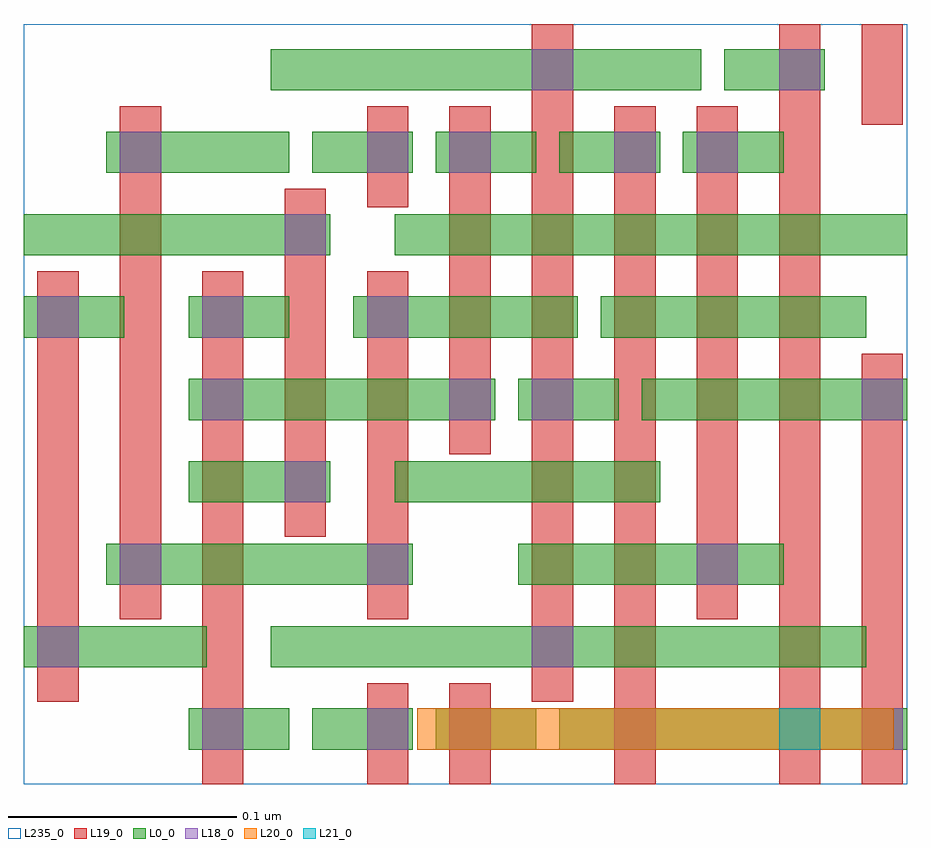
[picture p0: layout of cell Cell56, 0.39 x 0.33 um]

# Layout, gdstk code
import gdstk
lib = gdstk.Library(unit=1e-6, precision=2.5e-10)
def R(c, l, rs):  # rectangles x0, y0, x1, y1
    for r in rs: c.add(gdstk.rectangle(r[:2], r[2:], *l))
def A(c, l, x, y, w, h, nx, ny, dx, dy):  # array of equal rectangles
    R(c, l, [(x+i*dx, y+j*dy, x+i*dx+w, y+j*dy+h) for i in range(nx) for j in range(ny)])
L0_0 = (0, 0)
L18_0 = (18, 0)
L19_0 = (19, 0)
L20_0 = (20, 0)
L21_0 = (21, 0)
L235_0 = (235, 0)

cell56 = lib.new_cell('Cell56')
A(cell56, L0_0, 0.076, -0.001, 0.044, 0.018, 3, 1, 0.054, 0)
A(cell56, L0_0, 0.13, 0.251, 0.044, 0.018, 4, 1, 0.054, 0)
R(cell56, L0_0, [(0.238,-0.001,0.39,0.017), (0.004,0.035,0.084,0.053), (0.112,0.035,0.372,0.053), (0.04,0.071,0.174,0.089), (0.22,0.071,0.336,0.089), (0.076,0.107,0.138,0.125), (0.166,0.107,0.282,0.125), (0.076,0.143,0.21,0.161), (0.22,0.143,0.264,0.161), (0.274,0.143,0.39,0.161), (0.004,0.179,0.048,0.197), (0.076,0.179,0.12,0.197), (0.148,0.179,0.246,0.197), (0.256,0.179,0.372,0.197), (0.004,0.215,0.138,0.233), (0.166,0.215,0.39,0.233), (0.04,0.251,0.12,0.269), (0.112,0.287,0.3,0.305), (0.31,0.287,0.354,0.305)])
A(cell56, L18_0, 0.01, 0.179, 0.018, 0.018, 3, 1, 0.072, 0)
R(cell56, L18_0, [(0.082,-0.001,0.1,0.017), (0.154,-0.001,0.172,0.017), (0.19,-0.001,0.208,0.017), (0.262,-0.001,0.28,0.017), (0.37,-0.001,0.388,0.017), (0.01,0.035,0.028,0.053), (0.226,0.035,0.244,0.053), (0.046,0.071,0.064,0.089), (0.154,0.071,0.172,0.089), (0.298,0.071,0.316,0.089), (0.118,0.107,0.136,0.125), (0.082,0.143,0.1,0.161), (0.19,0.143,0.208,0.161), (0.226,0.143,0.244,0.161), (0.37,0.143,0.388,0.161), (0.118,0.215,0.136,0.233), (0.046,0.251,0.064,0.269), (0.154,0.251,0.172,0.269), (0.19,0.251,0.208,0.269), (0.262,0.251,0.28,0.269), (0.298,0.251,0.316,0.269), (0.226,0.287,0.244,0.305), (0.334,0.287,0.352,0.305)])
R(cell56, L19_0, [(0.082,-0.016,0.1,0.208), (0.154,-0.016,0.172,0.028), (0.19,-0.016,0.208,0.028), (0.262,-0.016,0.28,0.28), (0.334,-0.016,0.352,0.316), (0.37,-0.016,0.388,0.172), (0.01,0.02,0.028,0.208), (0.226,0.02,0.244,0.316), (0.046,0.056,0.064,0.28), (0.154,0.056,0.172,0.208), (0.298,0.056,0.316,0.28), (0.118,0.092,0.136,0.244), (0.19,0.128,0.208,0.28), (0.154,0.236,0.172,0.28), (0.37,0.272,0.388,0.316)])
R(cell56, L20_0, [(0.176,-0.001,0.384,0.017)])
R(cell56, L21_0, [(0.334,-0.001,0.352,0.017)])
R(cell56, L235_0, [(0.004,-0.016,0.39,0.316)])

lib.write_gds('Cell56.gds')
